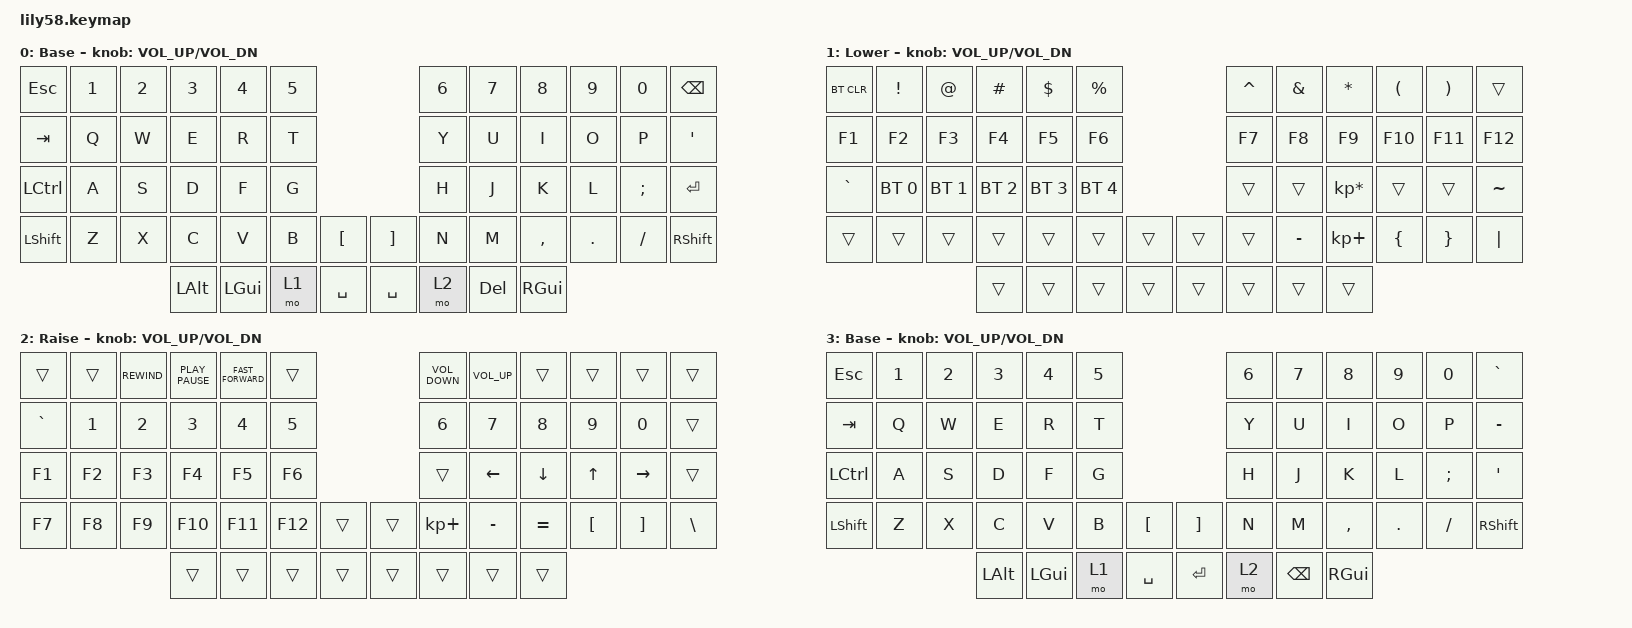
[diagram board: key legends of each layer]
/*
 * Copyright (c) 2020 The ZMK Contributors
 *
 * SPDX-License-Identifier: MIT
 */

#include <behaviors.dtsi>
#include <dt-bindings/zmk/bt.h>
#include <dt-bindings/zmk/keys.h>

/ {
    keymap {
        compatible = "zmk,keymap";

        default_layer {
            // ------------------------------------------------------------------------------------------------------------
            // |  ESC  |  1  |  2  |  3   |  4   |  5   |                   |  6   |  7    |  8    |  9   |   0   |   `   |
            // |  TAB  |  Q  |  W  |  E   |  R   |  T   |                   |  Y   |  U    |  I    |  O   |   P   |   -   |
            // |  CTRL |  A  |  S  |  D   |  F   |  G   |                   |  H   |  J    |  K    |  L   |   ;   |   '   |
            // | SHIFT |  Z  |  X  |  C   |  V   |  B   |   "["  |  |  "]"  |  N   |  M    |  ,    |  .   |   /   | SHIFT |
            //                     | ALT  | GUI  | LOWER|  SPACE |  | ENTER | RAISE| BSPC  | GUI   |

            display-name = "Base";
            bindings = <
&kp ESC    &kp N1  &kp N2  &kp N3    &kp N4    &kp N5                          &kp N6  &kp N7      &kp N8     &kp N9   &kp N0    &kp BACKSPACE
&kp TAB    &kp Q   &kp W   &kp E     &kp R     &kp T                           &kp Y   &kp U       &kp I      &kp O    &kp P     &kp APOS
&kp LCTRL  &kp A   &kp S   &kp D     &kp F     &kp G                           &kp H   &kp J       &kp K      &kp L    &kp SEMI  &kp ENTER
&kp LSHFT  &kp Z   &kp X   &kp C     &kp V     &kp B   &kp LBKT     &kp RBKT   &kp N   &kp M       &kp COMMA  &kp DOT  &kp FSLH  &kp RSHFT
                           &kp LALT  &kp LGUI  &mo 1   &kp SPACE    &kp SPACE  &mo 2   &kp DELETE  &kp RGUI
            >;

            sensor-bindings = <&inc_dec_kp C_VOL_UP C_VOL_DN>;
        };

        lower_layer {
            // ------------------------------------------------------------------------------------------------------------
            // | BTCLR | BT1 | BT2 |  BT3 |  BT4 |  BT5 |                   |      |       |       |      |       |       |
            // |  F1   |  F2 |  F3 |  F4  |  F5  |  F6  |                   |  F7  |  F8   |  F9   |  F10 |  F11  |  F12  |
            // |   `   |  !  |  @  |  #   |  $   |  %   |                   |  ^   |  &    |  *    |  (   |   )   |   ~   |
            // |       |     |     |      |      |      |        |  |       |      |  _    |  +    |  {   |   }   |  "|"  |
            //                     |      |      |      |        |  |       |      |       |       |

            display-name = "Lower";
            bindings = <
&bt BT_CLR  &kp EXCL      &kp AT_SIGN   &kp HASH      &kp DOLLAR    &kp PERCENT                     &kp CARET  &kp AMPERSAND  &kp ASTERISK     &kp LEFT_PARENTHESIS  &kp RIGHT_PARENTHESIS  &trans
&kp F1      &kp F2        &kp F3        &kp F4        &kp F5        &kp F6                          &kp F7     &kp F8         &kp F9           &kp F10               &kp F11                &kp F12
&kp GRAVE   &bt BT_SEL 0  &bt BT_SEL 1  &bt BT_SEL 2  &bt BT_SEL 3  &bt BT_SEL 4                    &trans     &trans         &kp KP_MULTIPLY  &trans                &trans                 &kp TILDE
&trans      &trans        &trans        &trans        &trans        &trans        &trans    &trans  &trans     &kp MINUS      &kp KP_PLUS      &kp LBRC              &kp RBRC               &kp PIPE
                                        &trans        &trans        &trans        &trans    &trans  &trans     &trans         &trans
            >;

            sensor-bindings = <&inc_dec_kp C_VOL_UP C_VOL_DN>;
        };

        raise_layer {
            // ------------------------------------------------------------------------------------------------------------
            // |       |     |     |      |      |      |                   |      |       |       |      |       |       |
            // |   `   |  1  |  2  |  3   |  4   |  5   |                   |  6   |   7   |   8   |  9   |   0   |       |
            // |   F1  |  F2 |  F3 |  F4  |  F5  |  F6  |                   |      |   <-  |   v   |  ^   |  ->   |       |
            // |   F7  |  F8 |  F9 |  F10 |  F11 |  F12 |        |  |       |  +   |   -   |   =   |  [   |   ]   |   \   |
            //                     |      |      |      |        |  |       |      |       |       |

            display-name = "Raise";
            bindings = <
&trans     &trans  &kp C_REWIND  &kp K_PLAY_PAUSE  &kp C_FAST_FORWARD  &trans                     &kp C_VOLUME_DOWN  &kp C_VOLUME_UP  &trans     &trans    &trans     &trans
&kp GRAVE  &kp N1  &kp N2        &kp N3            &kp N4              &kp N5                     &kp N6             &kp N7           &kp N8     &kp N9    &kp N0     &trans
&kp F1     &kp F2  &kp F3        &kp F4            &kp F5              &kp F6                     &trans             &kp LEFT         &kp DOWN   &kp UP    &kp RIGHT  &trans
&kp F7     &kp F8  &kp F9        &kp F10           &kp F11             &kp F12  &trans    &trans  &kp KP_PLUS        &kp MINUS        &kp EQUAL  &kp LBKT  &kp RBKT   &kp BSLH
                                 &trans            &trans              &trans   &trans    &trans  &trans             &trans           &trans
            >;

            sensor-bindings = <&inc_dec_kp C_VOL_UP C_VOL_DN>;
        };

        extra_1 { status = "reserved"; };

        extra_2 { status = "reserved"; };

        extra_3 { status = "reserved"; };

        layer_6 {
            display-name = "Base";
            bindings = <
&kp ESC    &kp N1  &kp N2  &kp N3    &kp N4    &kp N5                         &kp N6  &kp N7    &kp N8     &kp N9   &kp N0    &kp GRAVE
&kp TAB    &kp Q   &kp W   &kp E     &kp R     &kp T                          &kp Y   &kp U     &kp I      &kp O    &kp P     &kp MINUS
&kp LCTRL  &kp A   &kp S   &kp D     &kp F     &kp G                          &kp H   &kp J     &kp K      &kp L    &kp SEMI  &kp SQT
&kp LSHFT  &kp Z   &kp X   &kp C     &kp V     &kp B   &kp LBKT     &kp RBKT  &kp N   &kp M     &kp COMMA  &kp DOT  &kp FSLH  &kp RSHFT
                           &kp LALT  &kp LGUI  &mo 1   &kp SPACE    &kp RET   &mo 2   &kp BSPC  &kp RGUI
            >;

            sensor-bindings = <&inc_dec_kp C_VOL_UP C_VOL_DN>;
        };
    };
};
